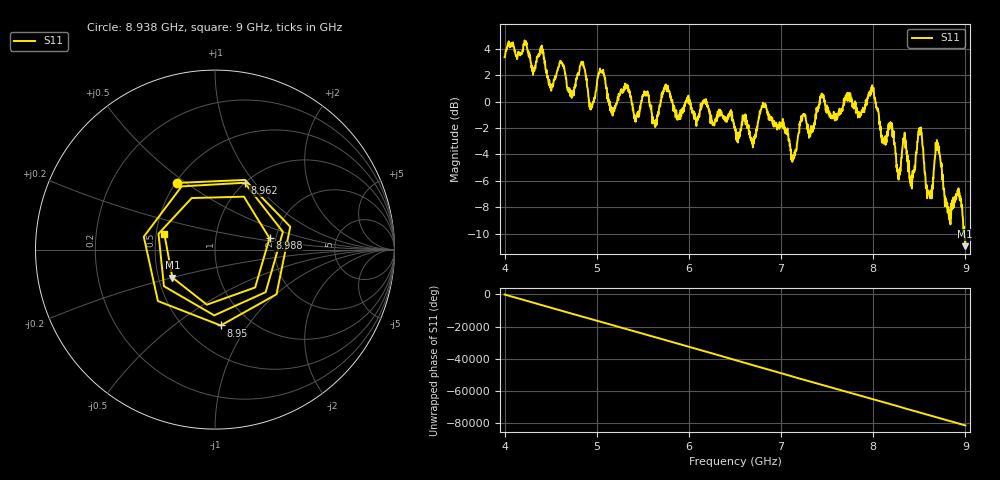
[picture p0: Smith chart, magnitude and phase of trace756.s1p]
! Created with skrf 1.8.0 (http://scikit-rf.org).
# Hz S RI R 50.0
!freq ReS11 ImS11
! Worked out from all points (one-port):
!   1601 points, 4 GHz to 9 GHz, reference 50 ohm
!   lowest |S11| = -10.9 dB at 8.997 GHz (marker M1), VSWR 1.79, Z = 29.5 - j9.99 ohm
!   |S11| at or under -10 dB: 8.980717 GHz to 8.981162 GHz (445.2 kHz wide, 0.00496 % of centre); 8.987045 GHz to end of sweep
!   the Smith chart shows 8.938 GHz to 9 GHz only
!   S11 on the Smith chart (normalised r, x): 8.938 GHz: 0.51, +0.46; 8.95 GHz: 0.74, -0.76; 8.962 GHz: 1.00, +0.89; 8.988 GHz: 1.85, +0.26; 9 GHz: 0.55, +0.11
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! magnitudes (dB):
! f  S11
! 4 GHz  3.4
! 4.625 GHz  2.9
! 4.725 GHz  0.7
! 4.847 GHz  2.8
! 4.941 GHz  -0.4
! 5.044 GHz  2.3
! 5.162 GHz  -0.8
! 5.25 GHz  0.5
! 5.875 GHz  -1.4
! 6.5 GHz  -1.9
! 6.816 GHz  -0.3
! 7.125 GHz  -4.4
! 7.441 GHz  0.6
! 7.75 GHz  0.6
! 7.994 GHz  0.9
! 8.272 GHz  -5.7
! 8.375 GHz  -4.1
! 8.422 GHz  -6.0
! 8.506 GHz  -2.1
! 8.597 GHz  -6.7
! 8.697 GHz  -3.3
! 8.819 GHz  -8.4
! 8.938 GHz  -7.4
! 8.95 GHz  -7.5
! 8.962 GHz  -7.8
! 8.988 GHz  -10.2
! 8.997 GHz  -10.9
! 9 GHz  -10.6
